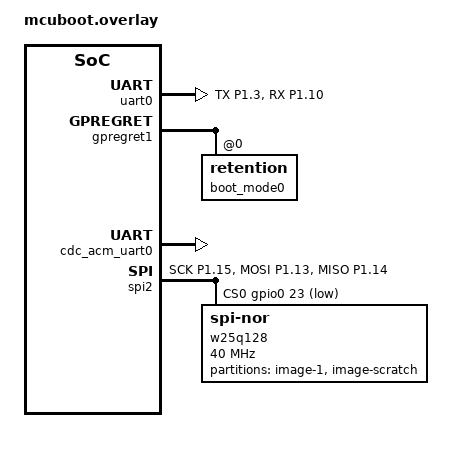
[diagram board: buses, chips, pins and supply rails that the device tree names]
/*
 * MCUboot Overlay for AutoWatering
 * - USB CDC ACM for serial recovery
 * - External W25Q128 flash support (slot1/scratch)
 */

/ {
    chosen {
        zephyr,console = &cdc_acm_uart0;
        zephyr,uart-mcumgr = &uart0;
        zephyr,boot-mode = &boot_mode0;
        /* Link MCUboot at 0x0 so the vector table is at the CPU reset address.
           Without this, the board default code_partition at 0x10000 is used,
           requiring the Arduino bootloader to redirect to MCUboot. */
        zephyr,code-partition = &boot_partition;
    };
};

&uart0 {
    status = "okay";
    pinctrl-0 = <&uart0_host_default>;
    pinctrl-1 = <&uart0_host_sleep>;
    pinctrl-names = "default", "sleep";
};

&gpregret1 {
    boot_mode0: boot_mode@0 {
        compatible = "zephyr,retention";
        status = "okay";
        reg = <0x0 0x1>;
    };
};

/* ---------- USB CDC ACM for serial recovery ---------- */
&zephyr_udc0 {
    cdc_acm_uart0: cdc_acm_uart0 {
        compatible = "zephyr,cdc-acm-uart";
    };
};

/* ---------- pinctrl for SPI2 (W25Q128 external flash) ---------- */
&pinctrl {
    uart0_host_default: uart0_host_default {
        group1 {
            psels = <NRF_PSEL(UART_TX, 1, 3)>,
                    <NRF_PSEL(UART_RX, 1, 10)>;
        };
    };

    uart0_host_sleep: uart0_host_sleep {
        group1 {
            psels = <NRF_PSEL(UART_TX, 1, 3)>,
                    <NRF_PSEL(UART_RX, 1, 10)>;
            low-power-enable;
        };
    };

    spi2_default: spi2_default {
        group1 {
            psels = <NRF_PSEL(SPIM_SCK, 1, 15)>,
                    <NRF_PSEL(SPIM_MOSI, 1, 13)>,
                    <NRF_PSEL(SPIM_MISO, 1, 14)>;
        };
    };

    spi2_sleep: spi2_sleep {
        group1 {
            psels = <NRF_PSEL(SPIM_SCK, 1, 15)>,
                    <NRF_PSEL(SPIM_MOSI, 1, 13)>,
                    <NRF_PSEL(SPIM_MISO, 1, 14)>;
            low-power-enable;
        };
    };
};

/* ---------- SPI2 for W25Q128 external flash (MCUboot needs this too) ---------- */
&spi2 {
    status = "okay";
    compatible = "nordic,nrf-spim";
    pinctrl-0 = <&spi2_default>;
    pinctrl-1 = <&spi2_sleep>;
    pinctrl-names = "default", "sleep";
    cs-gpios = <&gpio0 23 GPIO_ACTIVE_LOW>;

    w25q128: w25q128@0 {
        compatible = "jedec,spi-nor";
        reg = <0>;
        spi-max-frequency = <40000000>;
        jedec-id = [ef 40 18];
        size = <DT_SIZE_M(128)>;  /* 128 Mbit = 16 MB */
        has-dpd;
        t-enter-dpd = <3000>;
        t-exit-dpd = <30000>;

        partitions {
            compatible = "fixed-partitions";
            #address-cells = <1>;
            #size-cells = <1>;

            /*
             * Slot 1 starts at 0x23000 so its offset exceeds
             * CONFIG_FLASH_LOAD_OFFSET (0x22000).  Prevents MCUmgr
             * from treating slot1 as the running partition.
             */
            slot1_partition: partition@23000 {
                label = "image-1";
                reg = <0x00023000 0x000B6000>;
            };

            /* Scratch partition for MCUboot swap (128 KB) */
            scratch_partition: partition@D9000 {
                label = "image-scratch";
                reg = <0x000D9000 0x00020000>;
            };
        };
    };
};

/* ---------- Internal flash partitions for MCUboot ---------- */
&flash0 {
    partitions {
        compatible = "fixed-partitions";
        #address-cells = <1>;
        #size-cells = <1>;

        /* MCUboot bootloader (136 KB – Arduino BL 64 KB + MCUboot 72 KB) */
        boot_partition: partition@0 {
            label = "mcuboot";
            reg = <0x00000000 0x00022000>;  /* 136 KB */
        };

        /* Primary application slot (slot0) */
        slot0_partition: partition@22000 {
            label = "image-0";
            reg = <0x00022000 0x000B6000>;  /* 728 KB */
        };
    };
};
